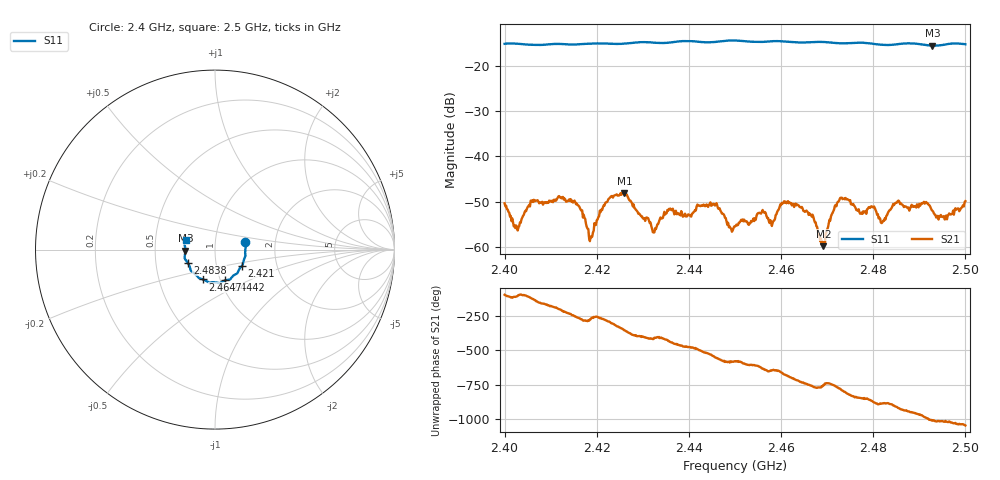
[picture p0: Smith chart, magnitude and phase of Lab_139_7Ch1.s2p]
# Hz S RI R 50
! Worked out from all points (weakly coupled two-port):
!   601 points, 2.4 GHz to 2.5 GHz, reference 50 ohm
!   highest |S21| = -48.06 dB at 2.426 GHz (marker M1); lowest = -59.8 dB at 2.4692 GHz (marker M2)
!   lowest |S11| = -15.6 dB at 2.4928 GHz (marker M3), VSWR 1.40, Z = 35.8 - j0.388 ohm
!   |S11| at or under -10 dB: start of sweep to end of sweep
!   S12 and S22 are empty: the file has one direction only
!   S11 on the Smith chart (normalised r, x): 2.4 GHz: 1.40, +0.12; 2.421 GHz: 1.33, -0.24; 2.4442 GHz: 1.05, -0.37; 2.4647 GHz: 0.83, -0.29; 2.4838 GHz: 0.73, -0.11; 2.5 GHz: 0.72, +0.08
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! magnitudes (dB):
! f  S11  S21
! 2.4 GHz  -15.2  -50.3
! 2.4025 GHz  -15.2  -55.2
! 2.4062 GHz  -15.4  -50.0
! 2.4167 GHz  -15.3  -52.0
! 2.4188 GHz  -15.2  -57.8
! 2.421 GHz  -15.1  -51.7
! 2.426 GHz  -15.2  -48.1
! 2.4323 GHz  -15.0  -56.8
! 2.4333 GHz  -15.0  -54.9
! 2.4442 GHz  -14.9  -51.1
! 2.45 GHz  -14.5  -55.4
! 2.4557 GHz  -14.8  -52.6
! 2.458 GHz  -14.7  -55.3
! 2.461 GHz  -14.7  -50.0
! 2.4647 GHz  -14.9  -51.4
! 2.4667 GHz  -14.8  -53.3
! 2.4692 GHz  -14.8  -59.8
! 2.4732 GHz  -15.1  -49.1
! 2.4833 GHz  -15.5  -52.2
! 2.4838 GHz  -15.4  -51.6
! 2.4928 GHz  -15.6  -52.0
! 2.5 GHz  -15.3  -49.9
